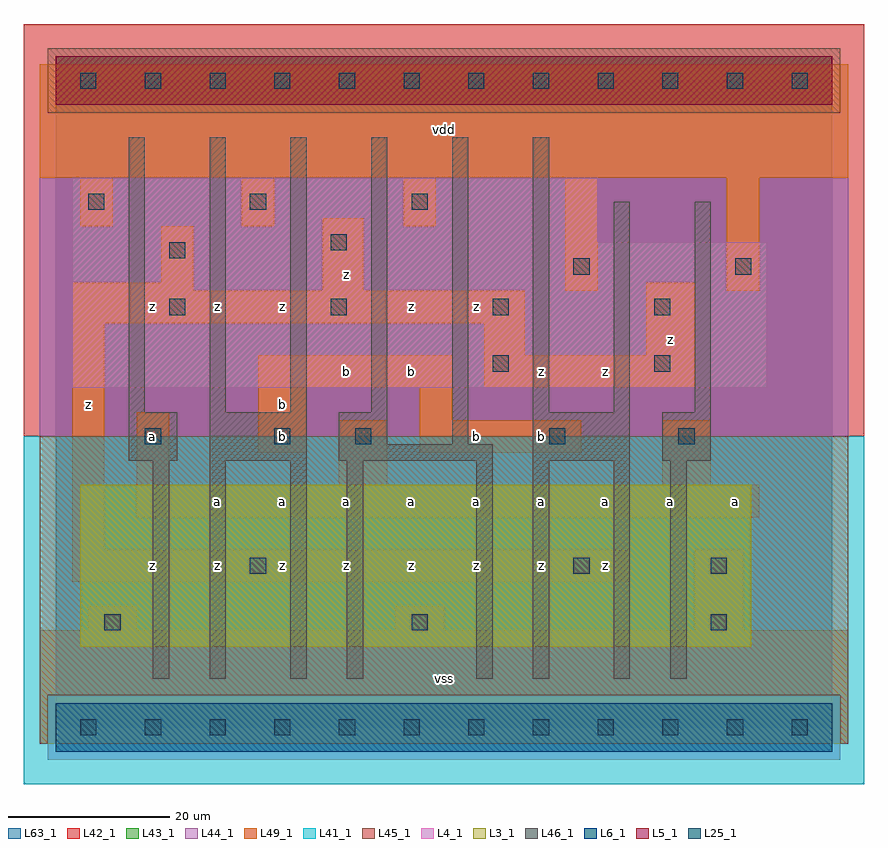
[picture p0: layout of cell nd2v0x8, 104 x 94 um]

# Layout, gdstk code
import gdstk
lib = gdstk.Library(unit=1e-6, precision=1e-09)
def R(c, l, rs):  # rectangles x0, y0, x1, y1
    for r in rs: c.add(gdstk.rectangle(r[:2], r[2:], *l))
def A(c, l, x, y, w, h, nx, ny, dx, dy):  # array of equal rectangles
    R(c, l, [(x+i*dx, y+j*dy, x+i*dx+w, y+j*dy+h) for i in range(nx) for j in range(ny)])
L3_1 = (3, 1)
L4_1 = (4, 1)
L5_1 = (5, 1)
L6_1 = (6, 1)
L25_1 = (25, 1)
L41_1 = (41, 1)
L42_1 = (42, 1)
L43_1 = (43, 1)
L44_1 = (44, 1)
L45_1 = (45, 1)
L46_1 = (46, 1)
L49_1 = (49, 1)
L63_1 = (63, 1)

nd2v0x8 = lib.new_cell('nd2v0x8')
R(nd2v0x8, L3_1, [(3,10,86,30)])
R(nd2v0x8, L4_1, [(2,42,88,60), (2,60,67,68)])
R(nd2v0x8, L5_1, [(0,77,96,83)])
R(nd2v0x8, L6_1, [(0,-3,96,3), (0,-3,96,3)])
A(nd2v0x8, L25_1, 3, -1, 2, 2, 12, 2, 8, 80)
A(nd2v0x8, L25_1, 14, 51, 2, 2, 4, 1, 20, 0)
A(nd2v0x8, L25_1, 4, 64, 2, 2, 3, 1, 20, 0)
R(nd2v0x8, L25_1, [(6,12,8,14), (44,12,46,14), (81,12,83,14), (24,19,26,21), (64,19,66,21), (81,19,83,21), (11,35,13,37), (27,35,29,37), (37,35,39,37), (61,35,63,37), (77,35,79,37), (54,44,56,46), (74,44,76,46), (64,56,66,58), (84,56,86,58), (14,58,16,60), (34,59,36,61)])
R(nd2v0x8, L41_1, [(-4,-7,100,36)])
R(nd2v0x8, L42_1, [(-4,36,100,87)])
R(nd2v0x8, L43_1, [(0,-3,96,3), (3,10,86,30), (2,42,88,60), (2,60,67,68), (0,77,96,83)])
R(nd2v0x8, L44_1, [(-1,-4,97,4), (-2,36,98,76), (-2,76,-1,82), (97,76,98,82)])
R(nd2v0x8, L45_1, [(-2,-2,-1,4), (97,-2,98,4), (-2,4,98,36), (-1,76,97,84)])
A(nd2v0x8, L46_1, 9, 39, 2, 34, 4, 1, 10, 0)
R(nd2v0x8, L46_1, [(12,6,14,33), (19,6,21,33), (29,6,31,33), (36,6,38,33), (52,6,54,33), (59,6,61,33), (69,6,71,33), (76,6,78,33), (9,33,15,39), (19,33,31,39), (35,33,54,35), (59,33,71,39), (75,33,81,39), (35,35,41,39), (49,35,51,73), (59,39,61,73), (69,39,71,65), (79,39,81,65)])
A(nd2v0x8, L49_1, 3, 62, 4, 6, 3, 1, 20, 0)
R(nd2v0x8, L49_1, [(-2,-2,98,12), (4,12,10,15), (42,12,48,15), (79,12,85,22), (2,18,71,22), (2,22,6,50), (10,26,87,30), (10,30,14,39), (35,30,41,38), (75,30,81,38), (25,34,31,42), (45,34,65,38), (45,38,49,42), (25,42,49,46), (53,42,79,46), (53,46,58,50), (73,46,79,55), (2,50,58,54), (2,54,17,55), (33,54,38,63), (63,54,67,68), (83,54,87,68), (13,55,17,62), (-2,68,98,82)])
R(nd2v0x8, L63_1, [(0,0,96,80)])
nd2v0x8.add(gdstk.Label('z', (12,20), layer=49, texttype=1))
nd2v0x8.add(gdstk.Label('z', (4,40), layer=49, texttype=1))
nd2v0x8.add(gdstk.Label('a', (12,36), layer=49, texttype=1))
nd2v0x8.add(gdstk.Label('z', (12,52), layer=49, texttype=1))
nd2v0x8.add(gdstk.Label('z', (20,20), layer=49, texttype=1))
nd2v0x8.add(gdstk.Label('a', (20,28), layer=49, texttype=1))
nd2v0x8.add(gdstk.Label('z', (28,20), layer=49, texttype=1))
nd2v0x8.add(gdstk.Label('a', (28,28), layer=49, texttype=1))
nd2v0x8.add(gdstk.Label('b', (28,36), layer=49, texttype=1))
nd2v0x8.add(gdstk.Label('b', (28,40), layer=49, texttype=1))
nd2v0x8.add(gdstk.Label('z', (28,52), layer=49, texttype=1))
nd2v0x8.add(gdstk.Label('z', (20,52), layer=49, texttype=1))
nd2v0x8.add(gdstk.Label('vss', (48,6), layer=49, texttype=1))
nd2v0x8.add(gdstk.Label('z', (36,20), layer=49, texttype=1))
nd2v0x8.add(gdstk.Label('a', (36,28), layer=49, texttype=1))
nd2v0x8.add(gdstk.Label('z', (44,20), layer=49, texttype=1))
nd2v0x8.add(gdstk.Label('a', (44,28), layer=49, texttype=1))
nd2v0x8.add(gdstk.Label('z', (52,20), layer=49, texttype=1))
nd2v0x8.add(gdstk.Label('a', (52,28), layer=49, texttype=1))
nd2v0x8.add(gdstk.Label('b', (36,44), layer=49, texttype=1))
nd2v0x8.add(gdstk.Label('b', (44,44), layer=49, texttype=1))
nd2v0x8.add(gdstk.Label('b', (52,36), layer=49, texttype=1))
nd2v0x8.add(gdstk.Label('z', (44,52), layer=49, texttype=1))
nd2v0x8.add(gdstk.Label('z', (52,52), layer=49, texttype=1))
nd2v0x8.add(gdstk.Label('z', (36,56), layer=49, texttype=1))
nd2v0x8.add(gdstk.Label('vdd', (48,74), layer=49, texttype=1))
nd2v0x8.add(gdstk.Label('z', (60,20), layer=49, texttype=1))
nd2v0x8.add(gdstk.Label('a', (60,28), layer=49, texttype=1))
nd2v0x8.add(gdstk.Label('z', (68,20), layer=49, texttype=1))
nd2v0x8.add(gdstk.Label('a', (68,28), layer=49, texttype=1))
nd2v0x8.add(gdstk.Label('a', (76,28), layer=49, texttype=1))
nd2v0x8.add(gdstk.Label('b', (60,36), layer=49, texttype=1))
nd2v0x8.add(gdstk.Label('z', (60,44), layer=49, texttype=1))
nd2v0x8.add(gdstk.Label('z', (68,44), layer=49, texttype=1))
nd2v0x8.add(gdstk.Label('z', (76,48), layer=49, texttype=1))
nd2v0x8.add(gdstk.Label('a', (84,28), layer=49, texttype=1))

lib.write_gds('nd2v0x8.gds')
